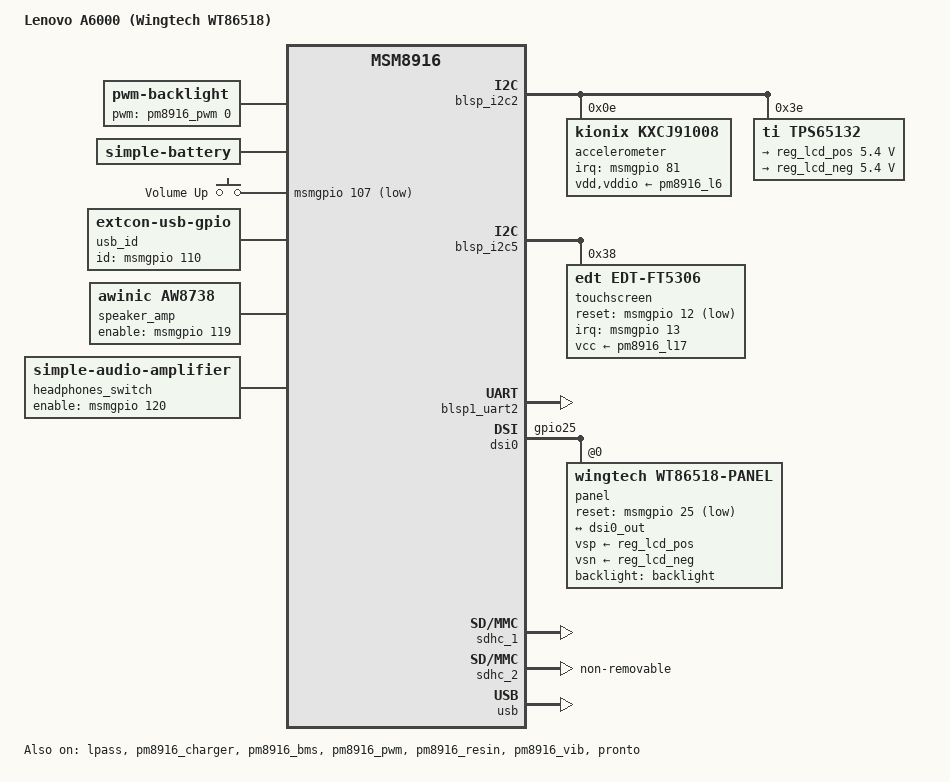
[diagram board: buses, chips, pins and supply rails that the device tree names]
// SPDX-License-Identifier: GPL-2.0-only

/dts-v1/;

#include "msm8916-pm8916.dtsi"
#include "msm8916-no-psci.dtsi"
#include <dt-bindings/gpio/gpio.h>
#include <dt-bindings/pinctrl/qcom,pmic-mpp.h>
#include <dt-bindings/sound/apq8016-lpass.h>

/ {
	model = "Lenovo A6000 (Wingtech WT86518)";
	compatible = "wingtech,wt86518", "qcom,msm8916";

	aliases {
		serial0 = &blsp1_uart2;
	};

	chosen {
		stdout-path = "serial0";
	};

	reserved-memory {
		/delete-node/ wcnss@89300000;
		/delete-node/ venus@89900000;

		mpss_mem: mpss@86800000 {
			reg = <0x0 0x86800000 0x0 0x5500000>;
			no-map;
		};

		wcnss_mem: wcnss@8bd00000 {
			reg = <0x0 0x8bd00000 0x0 0x600000>;
			no-map;
		};

		venus_mem: venus@8c300000 {
			reg = <0x0 0x8c300000 0x0 0x600000>;
			no-map;
		};
	};

	backlight: backlight {
		compatible = "pwm-backlight";
		pwms = <&pm8916_pwm 0 100000>;

		brightness-levels = <0 255>;
		num-interpolated-steps = <255>;
		default-brightness-level = <255>;
	};

	battery: battery {
		compatible = "simple-battery";
		voltage-min-design-microvolt = <3400000>;
		voltage-max-design-microvolt = <4350000>;
		energy-full-design-microwatt-hours = <7600000>;
		charge-full-design-microamp-hours = <2000000>;

		ocv-capacity-celsius = <25>;
		ocv-capacity-table-0 = <4324000 100>, <4246000 95>, <4187000 90>,
			<4133000 85>, <4080000 80>, <4028000 75>, <3976000 70>,
			<3932000 65>, <3893000 60>, <3861000 55>, <3831000 50>,
			<3808000 45>, <3787000 40>, <3772000 35>, <3759000 30>,
			<3744000 25>, <3724000 20>, <3691000 15>, <3659000 10>,
			<3654000 9>, <3648000 8>, <3638000 7>, <3619000 6>,
			<3585000 5>, <3537000 4>, <3473000 3>, <3388000 2>,
			<3259000 1>, <3000000 0>;
	};

	gpio-keys {
		compatible = "gpio-keys";

		pinctrl-names = "default";
		pinctrl-0 = <&gpio_keys_default>;

		label = "GPIO Buttons";

		volume-up {
			label = "Volume Up";
			gpios = <&msmgpio 107 GPIO_ACTIVE_LOW>;
			linux,code = <KEY_VOLUMEUP>;
		};
	};

	usb_id: usb-id {
		compatible = "linux,extcon-usb-gpio";
		id-gpios = <&msmgpio 110 GPIO_ACTIVE_HIGH>;
		pinctrl-names = "default";
		pinctrl-0 = <&usb_id_default>;
	};

	speaker_amp: audio-amplifier {
		compatible = "awinic,aw8738";

		pinctrl-names = "default";
		pinctrl-0 = <&spk_ext_pa_default>;

		enable-gpios = <&msmgpio 119 GPIO_ACTIVE_HIGH>;
		aw8738,mode = <1>;
		sound-name-prefix = "Speaker Amp";
	};

	headphones_switch: audio-switch {
		compatible = "simple-audio-amplifier";

		pinctrl-names = "default";
		pinctrl-0 = <&headphones_switch_default>;

		enable-gpios = <&msmgpio 120 GPIO_ACTIVE_HIGH>;
		sound-name-prefix = "Headphones Switch";
	};
};

&blsp_i2c2 {
	status = "okay";

	accelerometer@e {
		compatible = "kionix,kxcj91008";
		reg = <0xe>;

		interrupt-parent = <&msmgpio>;
		interrupts = <81 IRQ_TYPE_EDGE_FALLING>;

		vdd-supply = <&pm8916_l6>;
		vddio-supply = <&pm8916_l6>;

		pinctrl-names = "default";
		pinctrl-0 = <&accelerometer_default>;

		mount-matrix = "0", "-1", "0",
			       "-1", "0", "0",
			       "0",  "0", "1";
	};

	tps65132@3e {
		compatible = "ti,tps65132";
		reg = <0x3e>;

		pinctrl-names = "default";
		pinctrl-0 = <&tps65132_en_default>;

		reg_lcd_pos: outp {
			regulator-name = "outp";
			regulator-min-microvolt = <5400000>;
			regulator-max-microvolt = <5400000>;
			enable-gpios = <&msmgpio 118 GPIO_ACTIVE_HIGH>;
			regulator-active-discharge = <1>;
			ti,active-discharge-time-us = <800>;
		};

		reg_lcd_neg: outn {
			regulator-name = "outn";
			regulator-min-microvolt = <5400000>;
			regulator-max-microvolt = <5400000>;
			enable-gpios = <&msmgpio 117 GPIO_ACTIVE_HIGH>;
			regulator-active-discharge = <1>;
			ti,active-discharge-time-us = <800>;
		};
	};
};

&blsp_i2c5 {
	status = "okay";

	touchscreen@38 {
		/* actually FT5336 */
		compatible = "edt,edt-ft5306";
		reg = <0x38>;

		interrupt-parent = <&msmgpio>;
		interrupts = <13 IRQ_TYPE_EDGE_FALLING>;

		vcc-supply = <&pm8916_l17>;

		reset-gpios = <&msmgpio 12 GPIO_ACTIVE_LOW>;

		touchscreen-size-x = <720>;
		touchscreen-size-y = <1280>;

		pinctrl-names = "default";
		pinctrl-0 = <&touchscreen_default>;
	};
};

&blsp1_uart2 {
	status = "okay";
};

&dsi0 {
	pinctrl-names = "default", "sleep";
	pinctrl-0 = <&mdss_default>;
	pinctrl-1 = <&mdss_sleep>;

	panel@0 {
		compatible = "wingtech,wt86518-panel";
		reg = <0>;

		vsp-supply = <&reg_lcd_pos>;
		vsn-supply = <&reg_lcd_neg>;

		backlight = <&backlight>;
		reset-gpios = <&msmgpio 25 GPIO_ACTIVE_LOW>;

		port {
			panel_in: endpoint {
				remote-endpoint = <&dsi0_out>;
			};
		};
	};
};

&dsi0_out {
	data-lanes = <0 1 2 3>;
	remote-endpoint = <&panel_in>;
};

&dsi_phy0 {
	qcom,dsi-phy-regulator-ldo-mode;
};

&lpass {
	status = "okay";
};

&pm8916_charger {
	status = "okay";

	qcom,vdd-safe = <4300000>;
	qcom,ibat-safe = <900000>;

	monitored-battery = <&battery>;
};

&pm8916_bms {
	status = "okay";

	monitored-battery = <&battery>;
	power-supplies = <&pm8916_charger>;
};

&pm8916_pwm {
	status = "okay";
	pinctrl-names = "default";
	pinctrl-0 = <&pwm_out>;
};

&pm8916_resin {
	status = "okay";
	linux,code = <KEY_VOLUMEDOWN>;
};

&pm8916_vib {
	status = "okay";
};

&pronto {
	status = "okay";
};

&sdhc_1 {
	status = "okay";

	pinctrl-names = "default", "sleep";
	pinctrl-0 = <&sdc1_clk_on &sdc1_cmd_on &sdc1_data_on>;
	pinctrl-1 = <&sdc1_clk_off &sdc1_cmd_off &sdc1_data_off>;
};

&sdhc_2 {
	status = "okay";

	pinctrl-names = "default", "sleep";
	pinctrl-0 = <&sdc2_clk_on &sdc2_cmd_on &sdc2_data_on>;
	pinctrl-1 = <&sdc2_clk_off &sdc2_cmd_off &sdc2_data_off>;

	non-removable;
};

&sound {
	status = "okay";

	pinctrl-names = "default", "sleep";
	pinctrl-0 = <&cdc_pdm_lines_act>;
	pinctrl-1 = <&cdc_pdm_lines_sus>;

	model = "wt88047"; // use this for now
	audio-routing =
		"Speaker Amp IN", "HPH_R_EXT",
		"Headphones Switch INL", "HPH_L",
		"Headphones Switch INR", "HPH_R",
		"AMIC1", "MIC BIAS Internal1",
		"AMIC2", "MIC BIAS Internal2",
		"AMIC3", "MIC BIAS Internal1";
	aux-devs = <&speaker_amp>, <&headphones_switch>;

	dai-link-primary {
		link-name = "Primary MI2S";
		cpu {
			sound-dai = <&lpass MI2S_PRIMARY>;
		};
		codec {
			sound-dai = <&lpass_codec 0>, <&wcd_codec 0>;
		};
	};

	dai-link-tertiary {
		link-name = "Tertiary MI2S";
		cpu {
			sound-dai = <&lpass MI2S_TERTIARY>;
		};
		codec {
			sound-dai = <&lpass_codec 1>, <&wcd_codec 1>;
		};
	};
};

&usb {
	status = "okay";
	extcon = <&usb_id>, <&usb_id>;
};

&usb_hs_phy {
	extcon = <&usb_id>;
};

&wcd_codec {
	//qcom,micbias1-ext-cap;
	qcom,micbias-lvl = <2800>;
	qcom,mbhc-vthreshold-low = <75 150 237 450 500>;
	qcom,mbhc-vthreshold-high = <75 150 237 450 500>;
	qcom,hphl-jack-type-normally-open;
};

&smd_rpm_regulators {
	vdd_l1_l2_l3-supply = <&pm8916_s3>;
	vdd_l4_l5_l6-supply = <&pm8916_s4>;
	vdd_l7-supply = <&pm8916_s4>;

	s3 {
		regulator-min-microvolt = <1200000>;
		regulator-max-microvolt = <1300000>;
	};

	s4 {
		regulator-min-microvolt = <1800000>;
		regulator-max-microvolt = <2100000>;
	};

	l1 {
		regulator-min-microvolt = <1225000>;
		regulator-max-microvolt = <1225000>;
	};

	l2 {
		regulator-min-microvolt = <1200000>;
		regulator-max-microvolt = <1200000>;
	};

	l4 {
		regulator-min-microvolt = <2050000>;
		regulator-max-microvolt = <2050000>;
	};

	l5 {
		regulator-min-microvolt = <1800000>;
		regulator-max-microvolt = <1800000>;
	};

	l6 {
		regulator-min-microvolt = <1800000>;
		regulator-max-microvolt = <1800000>;
	};

	l7 {
		regulator-min-microvolt = <1800000>;
		regulator-max-microvolt = <1800000>;
	};

	l8 {
		regulator-min-microvolt = <2850000>;
		regulator-max-microvolt = <2900000>;
	};

	l9 {
		regulator-min-microvolt = <3300000>;
		regulator-max-microvolt = <3300000>;
	};

	l10 {
		regulator-min-microvolt = <2700000>;
		regulator-max-microvolt = <2800000>;
	};

	l11 {
		regulator-min-microvolt = <1800000>;
		regulator-max-microvolt = <3300000>; //2950000
		regulator-allow-set-load;
		regulator-system-load = <200000>;
	};

	l12 {
		regulator-min-microvolt = <1800000>;
		regulator-max-microvolt = <2950000>;
	};

	l13 {
		regulator-min-microvolt = <3075000>;
		regulator-max-microvolt = <3075000>;
	};

	l14 {
		regulator-min-microvolt = <1800000>;
		regulator-max-microvolt = <3300000>;
	};

	l15 {
		regulator-min-microvolt = <1800000>;
		regulator-max-microvolt = <3300000>;
	};

	l16 {
		regulator-min-microvolt = <1800000>;
		regulator-max-microvolt = <3300000>;
	};

	l17 {
		regulator-min-microvolt = <2850000>;
		regulator-max-microvolt = <2850000>;
	};

	l18 {
		regulator-min-microvolt = <2700000>;
		regulator-max-microvolt = <2700000>;
	};
};

&msmgpio {
	accelerometer_default: accelerometer-default {
		pins = "gpio112", "gpio114";
		function = "gpio";

		drive-strength = <2>;
		bias-disable;
	};

	gpio_keys_default: gpio-keys-default {
		pins = "gpio107";
		function = "gpio";

		drive-strength = <2>;
		bias-pull-up;
	};

	headphones_switch_default: headphones-switch-default {
		pins = "gpio120";
		function = "gpio";

		drive-strength = <2>;
		bias-disable;
	};

	mdss {
		mdss_default: mdss-default {
			pins = "gpio25";
			function = "gpio";

			drive-strength = <8>;
			bias-disable;
		};
		mdss_sleep: mdss-sleep {
			pins = "gpio25";
			function = "gpio";

			drive-strength = <2>;
			bias-pull-down;
		};
	};

	spk_ext_pa_default: spk-ext-pa-default {
		pins = "gpio119";
		function = "gpio";

		drive-strength = <2>;
		bias-disable;
	};

	touchscreen_default: touchscreen-default {
		pins = "gpio13";
		function = "gpio";

		drive-strength = <2>;
		bias-pull-up;

		reset {
			pins = "gpio12";
			function = "gpio";

			drive-strength = <2>;
			bias-disable;
		};
	};

	tps65132_en_default: tps65132-en-default {
		pins = "gpio117", "gpio118";
		function = "gpio";

		drive-strength = <2>;
		bias-disable;
	};

	usb_id_default: usb-id-default {
		pins = "gpio110";
		function = "gpio";

		drive-strength = <8>;
		bias-pull-up;
	};
};

&pm8916_mpps {
	pwm_out: mpp4 {
		pins = "mpp4";
		function = "digital";

		output-low;
		qcom,dtest = <1>;
		power-source = <PM8916_MPP_VPH>;
	};
};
